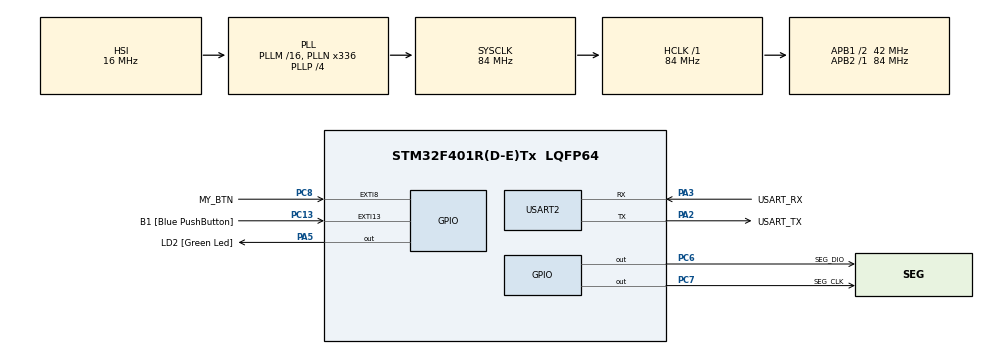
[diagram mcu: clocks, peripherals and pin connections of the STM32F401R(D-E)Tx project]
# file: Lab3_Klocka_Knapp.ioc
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Mcu.Family=STM32F4
Mcu.Name=STM32F401R(D-E)Tx
Mcu.Package=LQFP64
NVIC.EXTI9_5_IRQn=true\:0\:0\:false\:false\:true\:true\:true\:true
NVIC.PriorityGroup=NVIC_PRIORITYGROUP_0
PA13.GPIO_Label=TMS
PA13.Mode=Serial_Wire
PA13.Signal=SYS_JTMS-SWDIO
PA14.GPIO_Label=TCK
PA14.Mode=Serial_Wire
PA14.Signal=SYS_JTCK-SWCLK
PA2.GPIO_Label=USART_TX
PA2.GPIO_Mode=GPIO_MODE_AF_PP
PA2.GPIO_PuPd=GPIO_NOPULL
PA2.GPIO_Speed=GPIO_SPEED_FREQ_LOW
PA2.Mode=Asynchronous
PA2.Signal=USART2_TX
PA3.GPIO_Label=USART_RX
PA3.GPIO_Mode=GPIO_MODE_AF_PP
PA3.GPIO_PuPd=GPIO_NOPULL
PA3.GPIO_Speed=GPIO_SPEED_FREQ_LOW
PA3.Mode=Asynchronous
PA3.Signal=USART2_RX
PA5.GPIO_Label=LD2 [Green Led]
PA5.GPIO_Mode=GPIO_MODE_OUTPUT_PP
PA5.GPIO_PuPd=GPIO_NOPULL
PA5.GPIO_Speed=GPIO_SPEED_FREQ_LOW
PA5.Signal=GPIO_Output
PB3.GPIO_Label=SWO
PB3.Signal=SYS_JTDO-SWO
PC13-ANTI_TAMP.GPIO_Label=B1 [Blue PushButton]
PC13-ANTI_TAMP.GPIO_ModeDefaultEXTI=GPIO_MODE_IT_FALLING
PC13-ANTI_TAMP.GPIO_PuPd=GPIO_NOPULL
PC13-ANTI_TAMP.Signal=GPXTI13
PC14-OSC32_IN.Mode=LSE-External-Oscillator
PC14-OSC32_IN.Signal=RCC_OSC32_IN
PC15-OSC32_OUT.Mode=LSE-External-Oscillator
PC15-OSC32_OUT.Signal=RCC_OSC32_OUT
PC6.GPIO_Label=SEG_DIO
PC6.GPIO_ModeDefaultOutputPP=GPIO_MODE_OUTPUT_OD
PC6.GPIO_PuPd=GPIO_NOPULL
PC6.Signal=GPIO_Output
PC7.GPIO_Label=SEG_CLK
PC7.Signal=GPIO_Output
PC8.GPIO_Label=MY_BTN
PC8.GPIO_ModeDefaultEXTI=GPIO_MODE_IT_FALLING
PC8.Signal=GPXTI8
PH0\ -\ OSC_IN.Mode=HSE-External-Clock-Source
PH0\ -\ OSC_IN.Signal=RCC_OSC_IN
PH1\ -\ OSC_OUT.Mode=HSE-External-Clock-Source
PH1\ -\ OSC_OUT.Signal=RCC_OSC_OUT
ProjectManager.HeapSize=0x200
ProjectManager.StackSize=0x400
ProjectManager.TargetToolchain=STM32CubeIDE
RCC.48MHZClocksFreq_Value=48000000
RCC.AHBFreq_Value=84000000
RCC.APB1CLKDivider=RCC_HCLK_DIV2
RCC.APB1Freq_Value=42000000
RCC.APB1TimFreq_Value=84000000
RCC.APB2Freq_Value=84000000
RCC.APB2TimFreq_Value=84000000
RCC.CortexFreq_Value=84000000
RCC.HCLKFreq_Value=84000000
RCC.HSE_VALUE=8000000
RCC.HSI_VALUE=16000000
RCC.PLLN=336
RCC.PLLP=RCC_PLLP_DIV4
RCC.PLLQ=7
RCC.SYSCLKFreq_VALUE=84000000
RCC.SYSCLKSource=RCC_SYSCLKSOURCE_PLLCLK
RCC.VCOOutputFreq_Value=336000000
USART2.VirtualMode=VM_ASYNC
board=NUCLEO-F401RE

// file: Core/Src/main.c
/* USER CODE BEGIN Header */
/**
  ******************************************************************************
  * @file           : main.c
  * @brief          : Main program body
  ******************************************************************************
  * @attention
  *
  * Copyright (c) 2024 STMicroelectronics.
  * All rights reserved.
  *
  * This software is licensed under terms that can be found in the LICENSE file
  * in the root directory of this software component.
  * If no LICENSE file comes with this software, it is provided AS-IS.
  *
  ******************************************************************************
  */
/* USER CODE END Header */
#include "main.h"
#include <stdio.h>

UART_HandleTypeDef huart2;

void SystemClock_Config(void);
static void MX_GPIO_Init(void);
static void MX_USART2_UART_Init(void);
/* USER CODE BEGIN PFP */
void uart_print_menu(void);
int uart_get_menu_choice(void);
/* USER CODE END PFP */

/* USER CODE BEGIN 0 */
// Globala variabler
uint16_t button_exti_count = 0;         // Antal gånger avbrottsfunktionen körts
uint16_t button_debounced_count = 0;    // Antal gånger användaren upplever ett giltigt knapptryck
uint32_t last_flank_causing_exti = 0;   // Tidpunkt för den senaste flanken (millisekunder)

// Konstant för debouncing-tid
#define BOUNCE_DELAY_MS 20              // Den tid som behövs för att hantera kontaktstuds

void uart_print_menu()
{
    char menu[] = "\r\n"
                  "This is a very nice menu, yes?\r\n"
                  "Choose your destiny:\r\n"
                  "1. Clock mode\r\n"
                  "2. Button mode\r\n"
                  "Enter your choice: ";

    // Skicka menyn via UART
    HAL_UART_Transmit(&huart2, (uint8_t *)menu, sizeof(menu)-1, HAL_MAX_DELAY);
}

int uart_get_menu_choice()
{
    char str[1] = { '\0' };  // Initierar strängen
    uint16_t str_len = 1;    // Vi vill läsa in ett tecken
    HAL_UART_Receive(&huart2, (uint8_t *)str, str_len, HAL_MAX_DELAY);

    int ret = -1;
    // sscanf tolkar inmatningen som ett heltal
    if (sscanf(str, "%d", &ret) == 1)
    {
        // Returnera valet om det är en giltig siffra
        return ret;
    }
    // Returnera -1 om ingen siffra kunde läsas
    return -1;
}

void uart_print_bad_choice()
{
    char msg[] = "Invalid choice! Please try again.\r\n";
    HAL_UART_Transmit(&huart2, (uint8_t *)msg, sizeof(msg)-1, HAL_MAX_DELAY);
}

void clock_mode(void) {
    uint8_t seconds = 45;   // Startar från 23:59:45 för testning
    uint8_t minutes = 59;
    uint8_t hours = 23;
    uint8_t colon_on = 0;   // Kolondiodens status (blinkning)

    // Startar timern i interrupt-läge
    HAL_TIM_Base_Start_IT(&htim2);

    while (1) {
        // Kontrollera om knappen är intryckt
        if (HAL_GPIO_ReadPin(B1_GPIO_Port, B1_Pin) == GPIO_PIN_RESET) {
            // Knappen är intryckt, visa HH:MM
            DisplayTime(hours, minutes);
        } else {
            // Knappen är inte intryckt, visa MM:SS
            DisplayTime(minutes, seconds);
        }

        // Logik för att hålla reda på tiden hanteras i callback
        // Kolondiodens blinkande hanteras också i callback (varje halv sekund)
    }
}

void button_mode()
{
	 int b1_pressed = 0;
	    uint32_t now = 0;

	    while (1) {
	        now = HAL_GetTick();  // Hämta nuvarande tid i millisekunder

	        // Kolla om en ny flank har inträffat och om tillräcklig tid har passerat sedan förra hanteringen
	        if (last_flank_causing_exti != last_managed_exti && (now - last_flank_causing_exti) >= BOUNCE_DELAY_MS) {
	            // Läs GPIO för att kontrollera om knappen är nedtryckt
	            int pressed = GPIO_PIN_RESET == HAL_GPIO_ReadPin(MY_BTN_GPIO_Port, MY_BTN_Pin);

	            // Om knappen fortfarande är nedtryckt efter debouncing-tiden
	            if (pressed) {
	                button_debounced_count++;  // Öka debounced-räknaren för giltigt knapptryck
	            }

	            // Markera denna flank som hanterad
	            last_managed_exti = last_flank_causing_exti;
	        }

	        // Kontrollera om knappen är nedtryckt (aktiv låg på B1-knappen)
	        b1_pressed = GPIO_PIN_RESET == HAL_GPIO_ReadPin(B1_GPIO_Port, B1_Pin);

	        // Visa antal knapptryckningar: Om knappen är nedtryckt visas alla studsningar (button_exti_count),
	        // annars visas debounced-värdet (button_debounced_count)
	        qs_put_big_num(b1_pressed ? button_exti_count : button_debounced_count);
	    }
	}

// Avbrottshanterare för knappen
void HAL_GPIO_EXTI_Callback(uint16_t GPIO_Pin) {
    if (GPIO_Pin == MY_BTN_Pin) {
        button_exti_count++;            // Räknar antalet avbrott (flanker)
        last_flank_causing_exti = HAL_GetTick();  // Sparar tidpunkten då avbrottet inträffade
    }
}

/* USER CODE END 0 */

int main(void)
{

  /* MCU Configuration--------------------------------------------------------*/

  /* Reset of all peripherals, Initializes the Flash interface and the Systick. */
  HAL_Init();

  /* Configure the system clock */
  SystemClock_Config();

  /* Initialize all configured peripherals */
  MX_GPIO_Init();
  MX_USART2_UART_Init();

  /* Infinite loop */
  while (1)
  {
	  uart_print_menu();  // Skriv ut menyn via UART
	      int menu_choice = uart_get_menu_choice();  // Läs användarens val

	      switch (menu_choice)
	      {
	        case 1:
	          clock_mode();  // Om valet är 1, gå in i klockläge
	          break;
	        case 2:
	          button_mode();  // Om valet är 2, gå in i knapp-läge
	          break;
	        default:
	          uart_print_bad_choice();  // Felaktigt val, skriv ut ett felmeddelande
	          break;
	      }
  }
}

void SystemClock_Config(void)
{
  RCC_OscInitTypeDef RCC_OscInitStruct = {0};
  RCC_ClkInitTypeDef RCC_ClkInitStruct = {0};

  /** Configure the main internal regulator output voltage
  */
  __HAL_RCC_PWR_CLK_ENABLE();
  __HAL_PWR_VOLTAGESCALING_CONFIG(PWR_REGULATOR_VOLTAGE_SCALE2);

  /** Initializes the RCC Oscillators according to the specified parameters
  * in the RCC_OscInitTypeDef structure.
  */
  RCC_OscInitStruct.OscillatorType = RCC_OSCILLATORTYPE_HSI;
  RCC_OscInitStruct.HSIState = RCC_HSI_ON;
  RCC_OscInitStruct.HSICalibrationValue = RCC_HSICALIBRATION_DEFAULT;
  RCC_OscInitStruct.PLL.PLLState = RCC_PLL_ON;
  RCC_OscInitStruct.PLL.PLLSource = RCC_PLLSOURCE_HSI;
  RCC_OscInitStruct.PLL.PLLM = 16;
  RCC_OscInitStruct.PLL.PLLN = 336;
  RCC_OscInitStruct.PLL.PLLP = RCC_PLLP_DIV4;
  RCC_OscInitStruct.PLL.PLLQ = 7;
  if (HAL_RCC_OscConfig(&RCC_OscInitStruct) != HAL_OK)
  {
    Error_Handler();
  }

  /** Initializes the CPU, AHB and APB buses clocks
  */
  RCC_ClkInitStruct.ClockType = RCC_CLOCKTYPE_HCLK|RCC_CLOCKTYPE_SYSCLK
                              |RCC_CLOCKTYPE_PCLK1|RCC_CLOCKTYPE_PCLK2;
  RCC_ClkInitStruct.SYSCLKSource = RCC_SYSCLKSOURCE_PLLCLK;
  RCC_ClkInitStruct.AHBCLKDivider = RCC_SYSCLK_DIV1;
  RCC_ClkInitStruct.APB1CLKDivider = RCC_HCLK_DIV2;
  RCC_ClkInitStruct.APB2CLKDivider = RCC_HCLK_DIV1;

  if (HAL_RCC_ClockConfig(&RCC_ClkInitStruct, FLASH_LATENCY_2) != HAL_OK)
  {
    Error_Handler();
  }
}

static void MX_USART2_UART_Init(void)
{

  huart2.Instance = USART2;
  huart2.Init.BaudRate = 115200;
  huart2.Init.WordLength = UART_WORDLENGTH_8B;
  huart2.Init.StopBits = UART_STOPBITS_1;
  huart2.Init.Parity = UART_PARITY_NONE;
  huart2.Init.Mode = UART_MODE_TX_RX;
  huart2.Init.HwFlowCtl = UART_HWCONTROL_NONE;
  huart2.Init.OverSampling = UART_OVERSAMPLING_16;
  if (HAL_UART_Init(&huart2) != HAL_OK)
  {
    Error_Handler();
  }

}

static void MX_GPIO_Init(void)
{
  GPIO_InitTypeDef GPIO_InitStruct = {0};

  /* GPIO Ports Clock Enable */
  __HAL_RCC_GPIOC_CLK_ENABLE();
  __HAL_RCC_GPIOH_CLK_ENABLE();
  __HAL_RCC_GPIOA_CLK_ENABLE();
  __HAL_RCC_GPIOB_CLK_ENABLE();

  /*Configure GPIO pin Output Level */
  HAL_GPIO_WritePin(LD2_GPIO_Port, LD2_Pin, GPIO_PIN_RESET);

  /*Configure GPIO pin Output Level */
  HAL_GPIO_WritePin(GPIOC, SEG_DIO_Pin|SEG_CLK_Pin, GPIO_PIN_RESET);

  /*Configure GPIO pin : B1_Pin */
  GPIO_InitStruct.Pin = B1_Pin;
  GPIO_InitStruct.Mode = GPIO_MODE_IT_FALLING;
  GPIO_InitStruct.Pull = GPIO_NOPULL;
  HAL_GPIO_Init(B1_GPIO_Port, &GPIO_InitStruct);

  /*Configure GPIO pin : LD2_Pin */
  GPIO_InitStruct.Pin = LD2_Pin;
  GPIO_InitStruct.Mode = GPIO_MODE_OUTPUT_PP;
  GPIO_InitStruct.Pull = GPIO_NOPULL;
  GPIO_InitStruct.Speed = GPIO_SPEED_FREQ_LOW;
  HAL_GPIO_Init(LD2_GPIO_Port, &GPIO_InitStruct);

  /*Configure GPIO pin : SEG_DIO_Pin */
  GPIO_InitStruct.Pin = SEG_DIO_Pin;
  GPIO_InitStruct.Mode = GPIO_MODE_OUTPUT_OD;
  GPIO_InitStruct.Pull = GPIO_NOPULL;
  GPIO_InitStruct.Speed = GPIO_SPEED_FREQ_LOW;
  HAL_GPIO_Init(SEG_DIO_GPIO_Port, &GPIO_InitStruct);

  /*Configure GPIO pin : SEG_CLK_Pin */
  GPIO_InitStruct.Pin = SEG_CLK_Pin;
  GPIO_InitStruct.Mode = GPIO_MODE_OUTPUT_PP;
  GPIO_InitStruct.Pull = GPIO_NOPULL;
  GPIO_InitStruct.Speed = GPIO_SPEED_FREQ_LOW;
  HAL_GPIO_Init(SEG_CLK_GPIO_Port, &GPIO_InitStruct);

}

void Error_Handler(void)
{
  __disable_irq();
  while (1)
  {
  }
}
